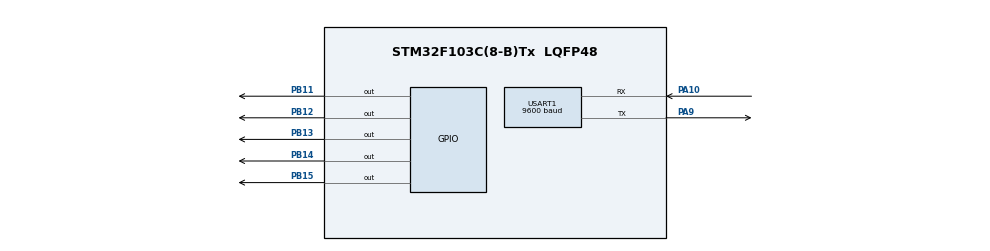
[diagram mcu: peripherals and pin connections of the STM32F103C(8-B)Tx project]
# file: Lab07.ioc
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Mcu.Family=STM32F1
Mcu.Name=STM32F103C(8-B)Tx
Mcu.Package=LQFP48
NVIC.PriorityGroup=NVIC_PRIORITYGROUP_4
NVIC.USART1_IRQn=true\:0\:0\:false\:false\:true\:true\:true\:true
PA10.Mode=Asynchronous
PA10.Signal=USART1_RX
PA9.Mode=Asynchronous
PA9.Signal=USART1_TX
PB11.Signal=GPIO_Output
PB12.Signal=GPIO_Output
PB13.Signal=GPIO_Output
PB14.Signal=GPIO_Output
PB15.Signal=GPIO_Output
ProjectManager.HeapSize=0x200
ProjectManager.StackSize=0x400
ProjectManager.TargetToolchain=STM32CubeIDE
RCC.APB1Freq_Value=8000000
RCC.APB2Freq_Value=8000000
USART1.BaudRate=9600
USART1.VirtualMode=VM_ASYNC
board=custom

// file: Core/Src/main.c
/* USER CODE BEGIN Header */
/**
  ******************************************************************************
  * @file           : main.c
  * @brief          : Main program body
  ******************************************************************************
  * @attention
  *
  * Copyright (c) 2023 STMicroelectronics.
  * All rights reserved.
  *
  * This software is licensed under terms that can be found in the LICENSE file
  * in the root directory of this software component.
  * If no LICENSE file comes with this software, it is provided AS-IS.
  *
  ******************************************************************************
  */
/* USER CODE END Header */
#include "main.h"
#include "usart.h"
#include "gpio.h"

/* USER CODE BEGIN Includes */
#include <stdbool.h>
#include <string.h>
/* USER CODE END Includes */

/* USER CODE BEGIN PV */
uint8_t str[1];
char led_state = 0;
bool RxCompleted = false;
bool TxCompleted = true;
/* USER CODE END PV */

void SystemClock_Config(void);

int main(void)
{

  /* MCU Configuration--------------------------------------------------------*/

  /* Reset of all peripherals, Initializes the Flash interface and the Systick. */
  HAL_Init();

  /* Configure the system clock */
  SystemClock_Config();

  /* Initialize all configured peripherals */
  MX_GPIO_Init();
  MX_USART1_UART_Init();
  /* USER CODE BEGIN 2 */
  HAL_UART_Receive_IT(&huart1, str, 1);
  /* USER CODE END 2 */

  /* Infinite loop */
  /* USER CODE BEGIN WHILE */
  while (1)
  {
//	  if (str[0] == '0') HAL_GPIO_WritePin(LED1_GPIO_Port, LED1_Pin, GPIO_PIN_RESET);
//	  if (str[0] == '1') HAL_GPIO_WritePin(LED1_GPIO_Port, LED1_Pin, GPIO_PIN_SET);

	  switch (str[0])
	      {
	        // LED1 On
	        case '1':
	          HAL_GPIO_WritePin(GPIOB, GPIO_PIN_12, GPIO_PIN_SET);
	          break;

	        // LED1 Off
	        case '2':
	          HAL_GPIO_WritePin(GPIOB, GPIO_PIN_12, GPIO_PIN_RESET);
	          break;

	        // LED2 On
	        case '3':
	          HAL_GPIO_WritePin(GPIOB, GPIO_PIN_13, GPIO_PIN_SET);
	          break;

	        // LED2 Off
	        case '4':
	          HAL_GPIO_WritePin(GPIOB, GPIO_PIN_13, GPIO_PIN_RESET);
	          break;

	        // LED3 On
	        case '5':
	          HAL_GPIO_WritePin(GPIOB, GPIO_PIN_14, GPIO_PIN_SET);
	          break;

	        // LED3 Off
	        case '6':
	          HAL_GPIO_WritePin(GPIOB, GPIO_PIN_14, GPIO_PIN_RESET);
	          break;

	        // LED4 On
	        case '7':
	          HAL_GPIO_WritePin(GPIOB, GPIO_PIN_15, GPIO_PIN_SET);
	          break;

	        // LED4 Off
	        case '8':
	          HAL_GPIO_WritePin(GPIOB, GPIO_PIN_15, GPIO_PIN_RESET);
	          break;

	        // LED5 On-Off
	        case '0':

	          led_state = !led_state;
	          HAL_GPIO_WritePin(GPIOB, GPIO_PIN_11, led_state);
	          strcpy(str, "");
	          break;

	        default:
	          break;
	      }
    /* USER CODE END WHILE */

  }
}

void SystemClock_Config(void)
{
  RCC_OscInitTypeDef RCC_OscInitStruct = {0};
  RCC_ClkInitTypeDef RCC_ClkInitStruct = {0};

  /** Initializes the RCC Oscillators according to the specified parameters
  * in the RCC_OscInitTypeDef structure.
  */
  RCC_OscInitStruct.OscillatorType = RCC_OSCILLATORTYPE_HSI;
  RCC_OscInitStruct.HSIState = RCC_HSI_ON;
  RCC_OscInitStruct.HSICalibrationValue = RCC_HSICALIBRATION_DEFAULT;
  RCC_OscInitStruct.PLL.PLLState = RCC_PLL_NONE;
  if (HAL_RCC_OscConfig(&RCC_OscInitStruct) != HAL_OK)
  {
    Error_Handler();
  }

  /** Initializes the CPU, AHB and APB buses clocks
  */
  RCC_ClkInitStruct.ClockType = RCC_CLOCKTYPE_HCLK|RCC_CLOCKTYPE_SYSCLK
                              |RCC_CLOCKTYPE_PCLK1|RCC_CLOCKTYPE_PCLK2;
  RCC_ClkInitStruct.SYSCLKSource = RCC_SYSCLKSOURCE_HSI;
  RCC_ClkInitStruct.AHBCLKDivider = RCC_SYSCLK_DIV1;
  RCC_ClkInitStruct.APB1CLKDivider = RCC_HCLK_DIV1;
  RCC_ClkInitStruct.APB2CLKDivider = RCC_HCLK_DIV1;

  if (HAL_RCC_ClockConfig(&RCC_ClkInitStruct, FLASH_LATENCY_0) != HAL_OK)
  {
    Error_Handler();
  }
}

/* USER CODE BEGIN 4 */
void HAL_UART_RxCpltCallback(UART_HandleTypeDef *huart)
	{
		if(huart == &huart1)
		{
			RxCompleted = true;

			if(TxCompleted == true)
			{
				TxCompleted = false;
				HAL_UART_Transmit_IT(&huart1, str, 1);
			}
		}
	}
void HAL_UART_TxCpltCallback(UART_HandleTypeDef *huart)
{
	if(huart == &huart1)
	{
		TxCompleted = true;

		if(RxCompleted == true)
		{
			RxCompleted = false;
			HAL_UART_Receive_IT(&huart1, str, 1);
		}
	}

}
/*
/* USER CODE END 4 */

void Error_Handler(void)
{
  __disable_irq();
  while (1)
  {
  }
}
